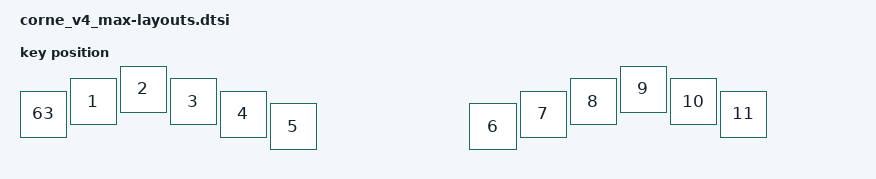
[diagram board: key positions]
#include <physical_layouts.dtsi>

/ {
    physical_layout0: physical_layout_0 {
        compatible = "zmk,physical-layout";
        display-name = "LAYOUT";

        kscan = <&kscan0>;
        transform = <&default_transform>;

        keys  //                     w   h    x    y     rot    rx    ry
            = <&key_physical_attrs 100 100  100   50       0     0     0>
            , <&key_physical_attrs 100 100  200   25       0     0     0>
            , <&key_physical_attrs 100 100  300   0       0     0     0>
            , <&key_physical_attrs 100 100  400   25       0     0     0>
            , <&key_physical_attrs 100 100  500   50       0     0     0>
            , <&key_physical_attrs 100 100  600   75       0     0     0>
            , <&key_physical_attrs 100 100  1000   75       0     0     0>
            , <&key_physical_attrs 100 100  1100   50       0     0     0>
            , <&key_physical_attrs 100 100  1200   25       0     0     0>
            , <&key_physical_attrs 100 100  1300   0       0     0     0>
            , <&key_physical_attrs 100 100  1400   25       0     0     0>
            , <&key_physical_attrs 100 100  1500  50       0     0     0>

            , <&key_physical_attrs 100 100  100   50       0     0     0>
            , <&key_physical_attrs 100 100  100   50       0     0     0>
            , <&key_physical_attrs 100 100  100   50       0     0     0>
            , <&key_physical_attrs 100 100  100   50       0     0     0>
            , <&key_physical_attrs 100 100  100   50       0     0     0>
            , <&key_physical_attrs 100 100  100   50       0     0     0>
            , <&key_physical_attrs 100 100  100   50       0     0     0>
            , <&key_physical_attrs 100 100  100   50       0     0     0>
            , <&key_physical_attrs 100 100  100   50       0     0     0>
            , <&key_physical_attrs 100 100  100   50       0     0     0>
            , <&key_physical_attrs 100 100  100   50       0     0     0>
            , <&key_physical_attrs 100 100  100   50       0     0     0>
            , <&key_physical_attrs 100 100  100   50       0     0     0>
            , <&key_physical_attrs 100 100  100   50       0     0     0>
            
            , <&key_physical_attrs 100 100  100   50       0     0     0>
            , <&key_physical_attrs 100 100  100   50       0     0     0>
            , <&key_physical_attrs 100 100  100   50       0     0     0>
            , <&key_physical_attrs 100 100  100   50       0     0     0>
            , <&key_physical_attrs 100 100  100   50       0     0     0>
            , <&key_physical_attrs 100 100  100   50       0     0     0>
            , <&key_physical_attrs 100 100  100   50       0     0     0>
            , <&key_physical_attrs 100 100  100   50       0     0     0>
            , <&key_physical_attrs 100 100  100   50       0     0     0>
            , <&key_physical_attrs 100 100  100   50       0     0     0>
            , <&key_physical_attrs 100 100  100   50       0     0     0>
            , <&key_physical_attrs 100 100  100   50       0     0     0>
            , <&key_physical_attrs 100 100  100   50       0     0     0>
            , <&key_physical_attrs 100 100  100   50       0     0     0>
            
            , <&key_physical_attrs 100 100  100   50       0     0     0>
            , <&key_physical_attrs 100 100  100   50       0     0     0>
            , <&key_physical_attrs 100 100  100   50       0     0     0>
            , <&key_physical_attrs 100 100  100   50       0     0     0>
            , <&key_physical_attrs 100 100  100   50       0     0     0>
            , <&key_physical_attrs 100 100  100   50       0     0     0>
            , <&key_physical_attrs 100 100  100   50       0     0     0>
            , <&key_physical_attrs 100 100  100   50       0     0     0>
            , <&key_physical_attrs 100 100  100   50       0     0     0>
            , <&key_physical_attrs 100 100  100   50       0     0     0>
            , <&key_physical_attrs 100 100  100   50       0     0     0>
            , <&key_physical_attrs 100 100  100   50       0     0     0>
            
            , <&key_physical_attrs 100 100  100   50       0     0     0>
            , <&key_physical_attrs 100 100  100   50       0     0     0>
            , <&key_physical_attrs 100 100  100   50       0     0     0>
            , <&key_physical_attrs 100 100  100   50       0     0     0>
            
            , <&key_physical_attrs 100 100  100   50       0     0     0>
            , <&key_physical_attrs 100 100  100   50       0     0     0>
            , <&key_physical_attrs 100 100  100   50       0     0     0>
            , <&key_physical_attrs 100 100  100   50       0     0     0>
            , <&key_physical_attrs 100 100  100   50       0     0     0>
            , <&key_physical_attrs 100 100  100   50       0     0     0>
            , <&key_physical_attrs 100 100  100   50       0     0     0>
            , <&key_physical_attrs 100 100  100   50       0     0     0>
            
            ;
    };
};
